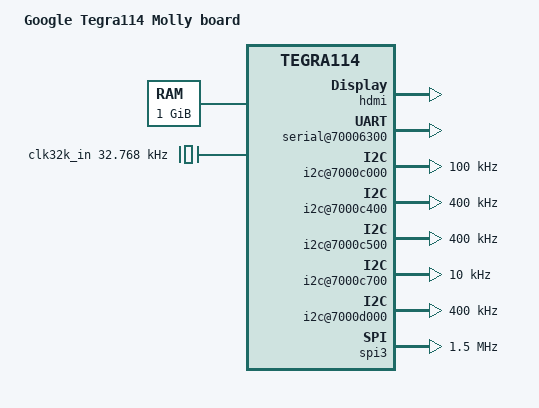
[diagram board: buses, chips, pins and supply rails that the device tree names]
/dts-v1/;

/include/ "tegra114.dtsi"

#include <tegra114-platforms/tegra114-molly-gpio-defaults.dtsi>
#include <tegra114-platforms/tegra114-molly-pinmux.dtsi>
#include <tegra114-platforms/tegra114-molly-powermon.dtsi>
/ {
	model = "Google Tegra114 Molly board";
	compatible = "google,molly", "nvidia,tegra114";
	nvidia,dtsfilename = __FILE__;

	host1x {
		hdmi {
			status = "okay";
		};
	};

	memory {
		reg = <0x80000000 0x40000000>;
	};

	serial@70006300 {
		status = "okay";
	};

    i2c@7000c000 {
        clock-frequency = <100000>;
		status = "okay";
	};

	i2c@7000c400 {
        clock-frequency = <400000>;
		nvidia,clock-always-on;
        status = "okay";
    };

	i2c@7000c500 {
        clock-frequency = <400000>;
        status = "okay";
	};

	i2c@7000c700 {
        clock-frequency = <10000>;
        status = "okay";
	};

	i2c@7000d000 {
        status = "okay";
        clock-frequency = <400000>;
    };

	pmc {
		nvidia,invert-interrupt;
	};

	spi3: spi@7000da00 {
        clock-frequency = <1500000>;
        status = "okay";
	};

	clocks {
		compatible = "simple-bus";
		#address-cells = <1>;
		#size-cells = <0>;

		clk32k_in: clock {
			compatible = "fixed-clock";
			reg=<0>;
			#clock-cells = <0>;
			clock-frequency = <32768>;
		};
	};
};
